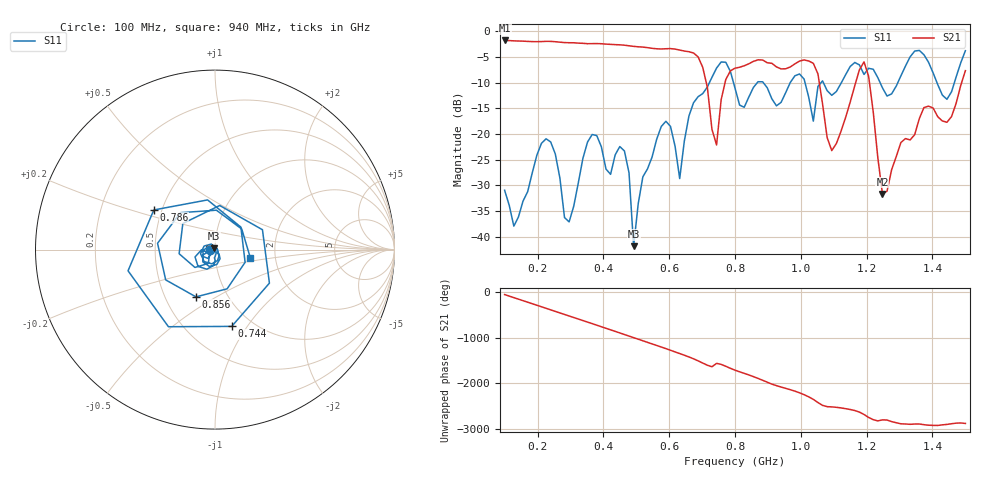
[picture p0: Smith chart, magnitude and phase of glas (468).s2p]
! NanoVNA-App
! Date: 2025-09-25 15:59:07
! Start: 100MHz Stop: 1,5GHz Points: 101
! S-Parameter data: F S11 S21 S12 S22
# Hz S RI R 50
!  Frequency  S11_Real  S11_Imag  S21_Real  S21_Imag  S12_Real  S12_Imag  S22_Real  S22_Imag
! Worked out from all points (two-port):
!   101 points, 100 MHz to 1.5 GHz, reference 50 ohm
!   highest |S21| = -1.80 dB at 100 MHz (marker M1); lowest = -31.7 dB at 1.248 GHz (marker M2)
!   |S21| within 3 dB of the highest: start of sweep to 684.2 MHz
!   lowest |S11| = -41.8 dB at 492 MHz (marker M3), VSWR 1.02, Z = 49.5 + j0.628 ohm
!   |S11| at or under -10 dB: start of sweep to 722.3 MHz; 795.4 MHz to 867.9 MHz (72.44 MHz wide, 8.71 % of centre); 885.9 MHz to 967.8 MHz (81.91 MHz wide, 8.84 % of centre) (the widest 3 of 7)
!   S12 and S22 are empty: the file has one direction only
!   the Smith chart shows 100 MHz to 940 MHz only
!   S11 on the Smith chart (normalised r, x): 100 MHz: 0.95, -0.01; 744 MHz: 0.80, -0.85; 786 MHz: 0.45, +0.24; 856 MHz: 0.71, -0.41; 940 MHz: 1.48, -0.15
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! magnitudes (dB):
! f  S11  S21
! 100 MHz  -30.9  -1.8
! 128 MHz  -37.9  -1.9
! 226 MHz  -20.9  -2.0
! 296 MHz  -37.1  -2.2
! 338 MHz  -24.7  -2.4
! 464 MHz  -23.3  -2.7
! 492 MHz  -41.8  -3.0
! 576 MHz  -18.5  -3.5
! 632 MHz  -28.7  -3.7
! 702 MHz  -12.1  -7.0
! 744 MHz  -7.2  -22.1
! 786 MHz  -7.8  -7.7
! 800 MHz  -11.1  -7.2
! 856 MHz  -10.9  -5.9
! 940 MHz  -13.8  -7.3
! 996 MHz  -8.3  -5.8
! 1.038 GHz  -17.5  -6.2
! 1.094 GHz  -12.5  -23.2
! 1.192 GHz  -8.4  -6.0
! 1.248 GHz  -11.0  -31.7
! 1.276 GHz  -12.2  -26.9
! 1.5 GHz  -3.8  -7.7
